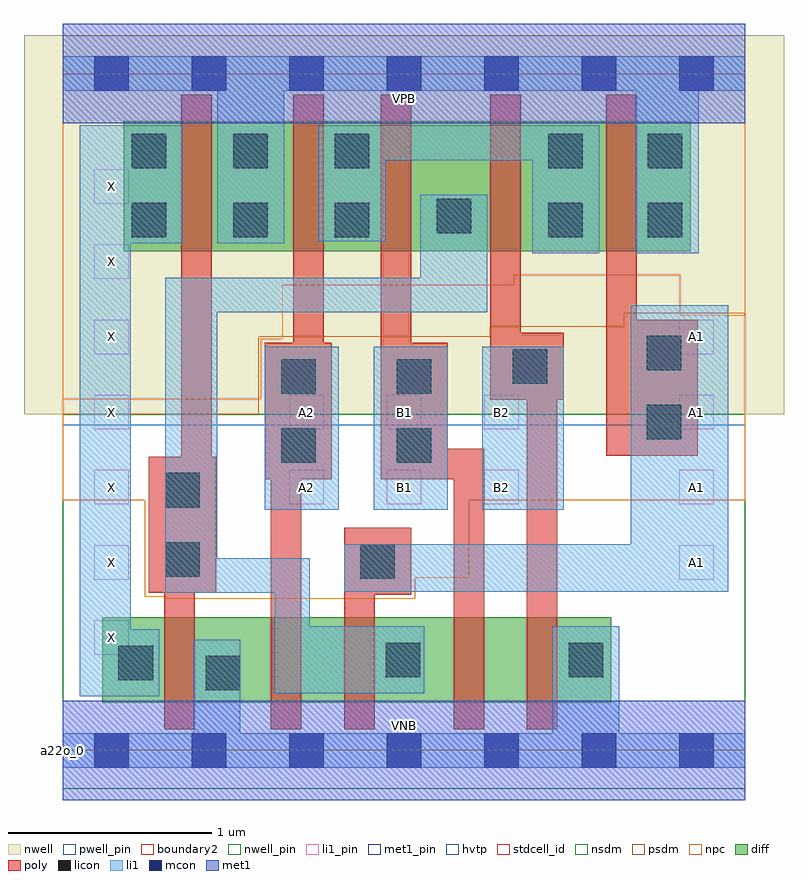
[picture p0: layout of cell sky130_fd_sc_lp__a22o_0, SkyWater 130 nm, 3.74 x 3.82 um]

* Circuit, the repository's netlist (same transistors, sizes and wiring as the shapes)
* Copyright 2020 The SkyWater PDK Authors
*
* Licensed under the Apache License, Version 2.0 (the "License");
* you may not use this file except in compliance with the License.
* You may obtain a copy of the License at
*
*     https://www.apache.org/licenses/LICENSE-2.0
*
* Unless required by applicable law or agreed to in writing, software
* distributed under the License is distributed on an "AS IS" BASIS,
* WITHOUT WARRANTIES OR CONDITIONS OF ANY KIND, either express or implied.
* See the License for the specific language governing permissions and
* limitations under the License.
*
* SPDX-License-Identifier: Apache-2.0

.SUBCKT sky130_fd_sc_lp__a22o_0 A1 A2 B1 B2 VGND VNB VPB VPWR X
*.PININFO A1:I A2:I B1:I B2:I VGND:I VNB:I VPB:I VPWR:I X:O
MMPA0 pndA A1 VPWR VPB sky130_fd_pr__pfet_01v8_hvt m=1 w=0.64U l=0.15U mult=1 sa=0.265
+ sb=0.265 sd=0.28 area=0.063 perim=1.14
MMPA1 pndA A2 VPWR VPB sky130_fd_pr__pfet_01v8_hvt m=1 w=0.64U l=0.15U mult=1 sa=0.265
+ sb=0.265 sd=0.28 area=0.063 perim=1.14
MMPB0 y B1 pndA VPB sky130_fd_pr__pfet_01v8_hvt m=1 w=0.64U l=0.15U mult=1 sa=0.265
+ sb=0.265 sd=0.28 area=0.063 perim=1.14
MMPB1 y B2 pndA VPB sky130_fd_pr__pfet_01v8_hvt m=1 w=0.64U l=0.15U mult=1 sa=0.265
+ sb=0.265 sd=0.28 area=0.063 perim=1.14
MMIPX X y VPWR VPB sky130_fd_pr__pfet_01v8_hvt m=1 w=0.64U l=0.15U mult=1 sa=0.265
+ sb=0.265 sd=0.28 area=0.063 perim=1.14
MMNA0 y A1 sndA1 VNB sky130_fd_pr__nfet_01v8 m=1 w=0.42U l=0.15U mult=1 sa=0.265
+ sb=0.265 sd=0.28 area=0.063 perim=1.14
MMNA1 sndA1 A2 VGND VNB sky130_fd_pr__nfet_01v8 m=1 w=0.42U l=0.15U mult=1 sa=0.265
+ sb=0.265 sd=0.28 area=0.063 perim=1.14
MMNB0 y B1 sndB1 VNB sky130_fd_pr__nfet_01v8 m=1 w=0.42U l=0.15U mult=1 sa=0.265
+ sb=0.265 sd=0.28 area=0.063 perim=1.14
MMNB1 sndB1 B2 VGND VNB sky130_fd_pr__nfet_01v8 m=1 w=0.42U l=0.15U mult=1 sa=0.265
+ sb=0.265 sd=0.28 area=0.063 perim=1.14
MMINX X y VGND VNB sky130_fd_pr__nfet_01v8 m=1 w=0.42U l=0.15U mult=1 sa=0.265
+ sb=0.265 sd=0.28 area=0.063 perim=1.14
.ENDS sky130_fd_sc_lp__a22o_0

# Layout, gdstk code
import gdstk
lib = gdstk.Library(unit=1e-6, precision=1e-09)
def R(c, l, rs):  # rectangles x0, y0, x1, y1
    for r in rs: c.add(gdstk.rectangle(r[:2], r[2:], *l))
def A(c, l, x, y, w, h, nx, ny, dx, dy):  # array of equal rectangles
    R(c, l, [(x+i*dx, y+j*dy, x+i*dx+w, y+j*dy+h) for i in range(nx) for j in range(ny)])
def P(c, l, *ps):  # polygons
    for p in ps: c.add(gdstk.Polygon(p, *l))
nwell_pin = (64, 16)
nwell = (64, 20)
diff = (65, 20)
poly = (66, 20)
licon = (66, 44)
li1_pin = (67, 16)
li1 = (67, 20)
mcon = (67, 44)
met1_pin = (68, 16)
met1 = (68, 20)
hvtp = (78, 44)
stdcell_id = (81, 4)
nsdm = (93, 44)
psdm = (94, 20)
npc = (95, 20)
pwell_pin = (122, 16)
boundary2 = (236, 0)

sky130_fd_sc_lp__a22o_0 = lib.new_cell('sky130_fd_sc_lp__a22o_0')
R(sky130_fd_sc_lp__a22o_0, nwell_pin, [(0,3.085,3.36,3.33)])
R(sky130_fd_sc_lp__a22o_0, nwell, [(-0.19,1.655,3.55,3.52)])
R(sky130_fd_sc_lp__a22o_0, diff, [(0.195,0.235,2.7,0.655), (0.3,2.455,3.09,3.095)])
P(sky130_fd_sc_lp__a22o_0, poly, [(2.075,1.485),(1.895,1.485),(1.895,2.005),(1.715,2.005),(1.715,3.225),(1.565,3.225),(1.565,1.335),(1.925,1.335),(1.925,0.105),(2.075,0.105)],
  [(0.755,1.445),(0.735,1.445),(0.735,3.225),(0.585,3.225),(0.585,1.445),(0.425,1.445),(0.425,0.775),(0.5,0.775),(0.5,0.105),(0.65,0.105),(0.65,0.775),(0.755,0.775)],
  [(1.715,1.095),(1.385,1.095),(1.385,0.105),(1.535,0.105),(1.535,0.765),(1.715,0.765)],
  [(2.465,2.055),(2.255,2.055),(2.255,3.225),(2.105,3.225),(2.105,1.725),(2.285,1.725),(2.285,0.105),(2.435,0.105),(2.435,1.725),(2.465,1.725)],
  [(3.125,2.12),(2.825,2.12),(2.825,3.225),(2.675,3.225),(2.675,1.45),(3.125,1.45)],
  [(1.325,2.005),(1.285,2.005),(1.285,3.225),(1.135,3.225),(1.135,2.005),(0.995,2.005),(0.995,1.335),(1.025,1.335),(1.025,0.105),(1.175,0.105),(1.175,1.335),(1.325,1.335)])
A(sky130_fd_sc_lp__a22o_0, licon, 0.34, 2.525, 0.17, 0.17, 3, 2, 0.5, 0.34)
R(sky130_fd_sc_lp__a22o_0, licon, [(0.705,0.295,0.875,0.465), (0.275,0.345,0.445,0.515), (1.59,0.36,1.76,0.53), (2.49,0.36,2.66,0.53), (1.465,0.845,1.635,1.015), (0.505,0.855,0.675,1.025), (0.505,1.195,0.675,1.365), (1.075,1.415,1.245,1.585), (1.645,1.415,1.815,1.585), (2.875,1.53,3.045,1.7), (1.075,1.755,1.245,1.925), (1.645,1.755,1.815,1.925), (2.215,1.805,2.385,1.975), (2.875,1.87,3.045,2.04), (2.39,2.525,2.56,2.695), (2.88,2.525,3.05,2.695), (1.84,2.545,2.01,2.715), (2.39,2.865,2.56,3.035), (2.88,2.865,3.05,3.035)])
A(sky130_fd_sc_lp__a22o_0, li1_pin, 0.155, 0.47, 0.17, 0.17, 1, 7, 0, 0.37)
A(sky130_fd_sc_lp__a22o_0, li1_pin, 3.035, 0.84, 0.17, 0.17, 1, 4, 0, 0.37)
A(sky130_fd_sc_lp__a22o_0, li1_pin, 1.115, 1.21, 0.17, 0.17, 3, 2, 0.48, 0.37)
R(sky130_fd_sc_lp__a22o_0, li1, [(0.995,1.185,1.36,1.985), (1.53,1.185,1.895,1.985), (2.065,1.185,2.465,1.985)])
P(sky130_fd_sc_lp__a22o_0, li1, [(0.59,3.075),(0.085,3.075),(0.085,0.265),(0.475,0.265),(0.475,0.595),(0.335,0.595),(0.335,2.495),(0.59,2.495)],
  [(3.36,0.085),(2.74,0.085),(2.74,0.61),(2.41,0.61),(2.41,0.085),(0.875,0.085),(0.875,0.545),(0.645,0.545),(0.645,0.085),(0,0.085),(0,-0.085),(3.36,-0.085)],
  [(3.36,3.415),(0,3.415),(0,3.245),(0.76,3.245),(0.76,2.495),(1.09,2.495),(1.09,3.245),(2.82,3.245),(2.82,2.445),(3.13,2.445),(3.13,3.245),(3.36,3.245)],
  [(3.275,2.19),(2.795,2.19),(2.795,1.015),(1.385,1.015),(1.385,0.78),(3.275,0.78)],
  [(2.64,3.075),(1.26,3.075),(1.26,2.505),(1.59,2.505),(1.59,2.905),(2.31,2.905),(2.31,2.445),(2.64,2.445)],
  [(2.09,2.735),(1.76,2.735),(1.76,2.325),(0.505,2.325),(0.505,0.775),(1.045,0.775),(1.045,0.28),(1.78,0.28),(1.78,0.61),(1.215,0.61),(1.215,0.945),(0.76,0.945),(0.76,2.155),(2.09,2.155)])
A(sky130_fd_sc_lp__a22o_0, mcon, 0.155, -0.085, 0.17, 0.17, 7, 2, 0.48, 3.33)
R(sky130_fd_sc_lp__a22o_0, met1_pin, [(0,0,3.36,0.245), (0,3.085,3.36,3.33)])
R(sky130_fd_sc_lp__a22o_0, met1, [(0,-0.245,3.36,0.245), (0,3.085,3.36,3.575)])
R(sky130_fd_sc_lp__a22o_0, hvtp, [(0,1.6,3.36,3.33)])
R(sky130_fd_sc_lp__a22o_0, stdcell_id, [(0,0,3.36,3.33)])
R(sky130_fd_sc_lp__a22o_0, nsdm, [(0,-0.19,3.36,1.655)])
P(sky130_fd_sc_lp__a22o_0, psdm, [(3.36,3.52),(0,3.52),(0,1.655),(0.965,1.655),(0.965,2.035),(2.105,2.035),(2.105,2.085),(2.765,2.085),(2.765,2.15),(3.36,2.15)])
P(sky130_fd_sc_lp__a22o_0, npc, [(3.36,2.14),(3.04,2.14),(3.04,2.34),(2.22,2.34),(2.22,2.29),(1.08,2.29),(1.08,2.025),(0.975,2.025),(0.975,1.73),(0,1.73),(0,1.23),(0.405,1.23),(0.405,0.755),(0.51,0.755),(0.51,0.745),(1.735,0.745),(1.735,0.85),(2,0.85),(2,1.23),(3.36,1.23)])
R(sky130_fd_sc_lp__a22o_0, pwell_pin, [(0,0,3.36,0.245)])
R(sky130_fd_sc_lp__a22o_0, boundary2, [(0,0,3.36,3.33)])
sky130_fd_sc_lp__a22o_0.add(gdstk.Label('VNB', (1.68,0.123), layer=64, texttype=59))
sky130_fd_sc_lp__a22o_0.add(gdstk.Label('VPB', (1.68,3.208), layer=64, texttype=5))
sky130_fd_sc_lp__a22o_0.add(gdstk.Label('a22o_0', (0,0), layer=83, texttype=44))
sky130_fd_sc_lp__a22o_0.add(gdstk.Label('VPWR', (1.68,3.208), layer=68, texttype=5))
sky130_fd_sc_lp__a22o_0.add(gdstk.Label('VGND', (1.68,0.123), layer=68, texttype=5))
sky130_fd_sc_lp__a22o_0.add(gdstk.Label('A2', (1.2,1.295), layer=67, texttype=5))
sky130_fd_sc_lp__a22o_0.add(gdstk.Label('A2', (1.2,1.665), layer=67, texttype=5))
sky130_fd_sc_lp__a22o_0.add(gdstk.Label('B1', (1.68,1.295), layer=67, texttype=5))
sky130_fd_sc_lp__a22o_0.add(gdstk.Label('B1', (1.68,1.665), layer=67, texttype=5))
sky130_fd_sc_lp__a22o_0.add(gdstk.Label('B2', (2.16,1.295), layer=67, texttype=5))
sky130_fd_sc_lp__a22o_0.add(gdstk.Label('B2', (2.16,1.665), layer=67, texttype=5))
sky130_fd_sc_lp__a22o_0.add(gdstk.Label('A1', (3.12,0.925), layer=67, texttype=5))
sky130_fd_sc_lp__a22o_0.add(gdstk.Label('A1', (3.12,1.295), layer=67, texttype=5))
sky130_fd_sc_lp__a22o_0.add(gdstk.Label('A1', (3.12,1.665), layer=67, texttype=5))
sky130_fd_sc_lp__a22o_0.add(gdstk.Label('A1', (3.12,2.035), layer=67, texttype=5))
sky130_fd_sc_lp__a22o_0.add(gdstk.Label('X', (0.24,0.555), layer=67, texttype=5))
sky130_fd_sc_lp__a22o_0.add(gdstk.Label('X', (0.24,0.925), layer=67, texttype=5))
sky130_fd_sc_lp__a22o_0.add(gdstk.Label('X', (0.24,1.295), layer=67, texttype=5))
sky130_fd_sc_lp__a22o_0.add(gdstk.Label('X', (0.24,1.665), layer=67, texttype=5))
sky130_fd_sc_lp__a22o_0.add(gdstk.Label('X', (0.24,2.035), layer=67, texttype=5))
sky130_fd_sc_lp__a22o_0.add(gdstk.Label('X', (0.24,2.405), layer=67, texttype=5))
sky130_fd_sc_lp__a22o_0.add(gdstk.Label('X', (0.24,2.775), layer=67, texttype=5))

lib.write_gds('sky130_fd_sc_lp__a22o_0.gds')
